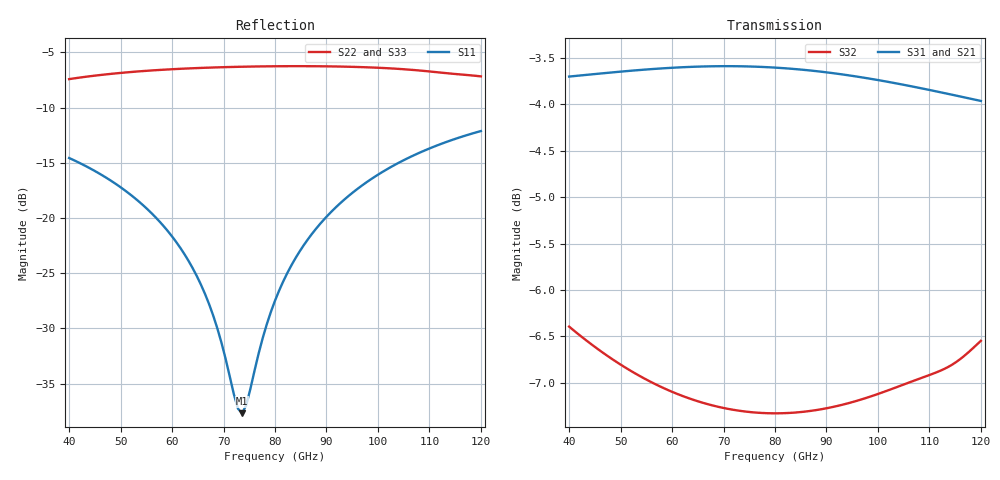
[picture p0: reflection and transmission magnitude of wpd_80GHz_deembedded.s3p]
! Created with skrf 2.2.0 (http://scikit-rf.org).
# GHz S DB R 50.0
! Port[1] = P1
! Port[2] = P2
! Port[3] = P3
!freq dBS11 angS11 dBS12 angS12 dBS13 angS13
! dBS21 angS21 dBS22 angS22 dBS23 angS23
! dBS31 angS31 dBS32 angS32 dBS33 angS33
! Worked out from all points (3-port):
!   101 points, 40 GHz to 120 GHz, reference 50 ohm
!   strongest paths, dB at 40 GHz, 60 GHz, 80 GHz, 100 GHz, 120 GHz:
!     S31: -3.7, -3.6, -3.6, -3.7, -4.0
!     S21: -3.7, -3.6, -3.6, -3.7, -4.0
!     S32: -6.4, -7.1, -7.3, -7.1, -6.5
!   lowest |S11| = -37.7 dB at 73.6 GHz (marker M1), VSWR 1.03, Z = 51.3 + j0.0659 ohm
!   |S11| at or under -10 dB: start of sweep to end of sweep
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40  -14.56 130.7  -3.71 -44.8  -3.70 -44.7
    -3.71 -44.8  -7.42 46.5  -6.39 -98.9
    -3.70 -44.7  -6.39 -98.9  -7.42 46.5
52.8  -18.21 113.9  -3.64 -59.5  -3.64 -59.5
      -3.64 -59.5  -6.74 27.0  -6.90 -126.0
      -3.64 -59.5  -6.90 -126.0  -6.75 27.0
61.6  -22.70 99.6  -3.61 -69.8  -3.60 -69.8
      -3.61 -69.8  -6.48 15.6  -7.13 -144.1
      -3.60 -69.8  -7.13 -144.1  -6.49 15.5
67.2  -27.81 84.6  -3.60 -76.4  -3.59 -76.4
      -3.60 -76.4  -6.37 8.8  -7.23 -155.5
      -3.59 -76.4  -7.23 -155.5  -6.39 8.8
72.8  -37.26 24.8  -3.60 -83.0  -3.59 -83.0
      -3.60 -83.0  -6.30 2.4  -7.30 -166.8
      -3.59 -83.0  -7.30 -166.8  -6.31 2.3
73.6  -37.69 2.8  -3.60 -83.9  -3.59 -84.0
      -3.60 -83.9  -6.29 1.4  -7.30 -168.5
      -3.59 -84.0  -7.30 -168.5  -6.31 1.4
80  -27.49 -73.7  -3.61 -91.6  -3.61 -91.6
    -3.61 -91.6  -6.25 -5.8  -7.33 178.6
    -3.61 -91.6  -7.33 178.6  -6.26 -5.9
86.4  -21.92 -89.8  -3.64 -99.2  -3.63 -99.2
      -3.64 -99.2  -6.24 -13.1  -7.31 165.6
      -3.63 -99.2  -7.31 165.6  -6.26 -13.1
94.4  -17.96 -102.5  -3.70 -108.6  -3.69 -108.6
      -3.70 -108.6  -6.30 -22.5  -7.22 149.2
      -3.69 -108.6  -7.22 149.2  -6.31 -22.5
120  -12.12 -134.2  -3.97 -138.1  -3.96 -138.2
     -3.97 -138.1  -7.17 -57.6  -6.55 95.5
     -3.96 -138.2  -6.55 95.5  -7.18 -57.6
